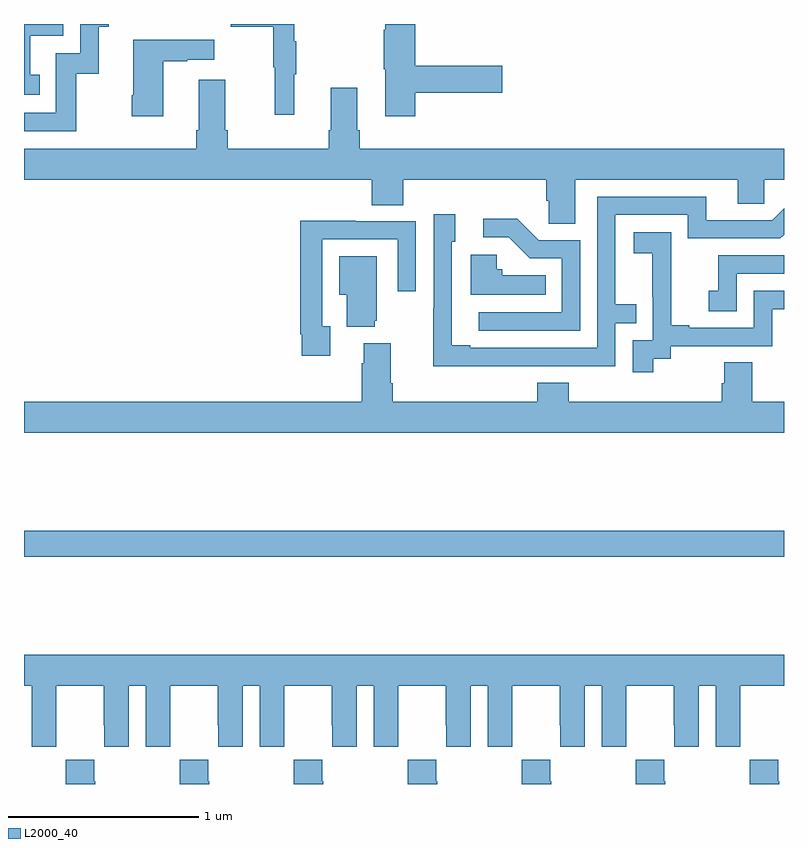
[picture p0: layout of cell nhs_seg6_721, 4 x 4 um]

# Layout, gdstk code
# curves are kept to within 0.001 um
import gdstk
lib = gdstk.Library(unit=1e-6, precision=1e-09)
def R(c, l, rs):  # rectangles x0, y0, x1, y1
    for r in rs: c.add(gdstk.rectangle(r[:2], r[2:], *l))
def P(c, l, *ps):  # polygons
    for p in ps: c.add(gdstk.Polygon(p, *l))
L2000_40 = (2000, 40)

nhs_seg6_721 = lib.new_cell('nhs_seg6_721')
R(nhs_seg6_721, L2000_40, [(157,934.696,161,934.832)])
P(nhs_seg6_721, L2000_40, [(159.059,937.138),(159.517,937.138),(159.517,937.28),(159.059,937.28),(159.059,937.5),(158.9,937.5),(158.9,937.469),(158.893,937.469),(158.893,937.263),(158.9,937.263),(158.9,937.014),(159.059,937.014)],
  [(158.423,937.235),(158.434,937.235),(158.434,937.409),(158.423,937.409),(158.423,937.5),(158.089,937.5),(158.089,937.486),(158.313,937.486),(158.313,937.272),(158.32,937.272),(158.32,937.023),(158.423,937.023)],
  [(157.082,937.233),(157.033,937.233),(157.033,937.437),(157.206,937.437),(157.206,937.5),(157,937.5),(157,937.128),(157.082,937.128)],
  [(157.276,937.239),(157.394,937.239),(157.394,937.485),(157.447,937.485),(157.447,937.5),(157.296,937.5),(157.296,937.347),(157.167,937.347),(157.167,937.032),(157,937.032),(157,936.936),(157.276,936.936)],
  [(157.732,937.303),(157.859,937.303),(157.859,937.313),(158.002,937.313),(158.002,937.417),(157.574,937.417),(157.574,937.126),(157.567,937.126),(157.567,937.014),(157.732,937.014)],
  [(159.901,936.68),(160.757,936.68),(160.757,936.553),(160.896,936.553),(160.896,936.68),(161,936.68),(161,936.844),(158.768,936.844),(158.768,936.94),(158.755,936.94),(158.755,937.165),(158.615,937.165),(158.615,936.94),(158.603,936.94),(158.603,936.844),(158.072,936.844),(158.072,936.94),(158.059,936.94),(158.059,937.207),(157.919,937.207),(157.919,936.94),(157.907,936.94),(157.907,936.844),(157,936.844),(157,936.68),(158.831,936.68),(158.831,936.547),(158.996,936.547),(158.996,936.68),(159.749,936.68),(159.749,936.571),(159.762,936.571),(159.762,936.448),(159.901,936.448)],
  [(159.617,935.7),(160.113,935.7),(160.113,935.925),(160.223,935.925),(160.223,936.026),(160.113,936.026),(160.113,936.495),(160.494,936.495),(160.494,936.372),(160.98,936.372),(161,936.392),(161,936.53),(160.938,936.468),(160.591,936.468),(160.591,936.591),(160.017,936.591),(160.017,935.796),(159.349,935.796),(159.349,935.809),(159.252,935.809),(159.252,936.354),(159.271,936.354),(159.271,936.499),(159.156,936.499),(159.156,936.005),(159.154,936.005),(159.154,935.699)],
  [(159.927,936.363),(159.708,936.363),(159.595,936.476),(159.417,936.476),(159.417,936.378),(159.551,936.378),(159.662,936.267),(159.831,936.267),(159.831,935.982),(159.393,935.982),(159.393,935.886),(159.927,935.886)],
  [(158.611,935.91),(158.571,935.91),(158.571,936.366),(158.967,936.366),(158.967,936.093),(159.063,936.093),(159.063,936.462),(158.747,936.462),(158.747,936.464),(158.455,936.464),(158.455,935.866),(158.463,935.866),(158.463,935.754),(158.611,935.754)],
  [(160.312,935.737),(160.404,935.737),(160.404,935.805),(160.938,935.805),(160.938,936),(161,936),(161,936.096),(160.842,936.096),(160.842,935.901),(160.501,935.901),(160.501,935.914),(160.406,935.914),(160.406,936.197),(160.407,936.197),(160.407,936.403),(160.209,936.403),(160.209,936.293),(160.307,936.293),(160.307,936.065),(160.308,936.065),(160.308,935.835),(160.203,935.835),(160.203,935.667),(160.312,935.667)],
  [(159.746,936.178),(159.516,936.178),(159.516,936.21),(159.489,936.21),(159.489,936.286),(159.35,936.286),(159.35,936.074),(159.746,936.074)],
  [(160.752,936.186),(161,936.186),(161,936.282),(160.654,936.282),(160.654,936.097),(160.605,936.097),(160.605,935.988),(160.752,935.988)],
  [(158.846,935.937),(158.857,935.937),(158.857,936.277),(158.66,936.277),(158.66,936.074),(158.699,936.074),(158.699,935.906),(158.846,935.906)],
  [(161,935.512),(160.833,935.512),(160.833,935.72),(160.685,935.72),(160.685,935.61),(160.673,935.61),(160.673,935.512),(159.866,935.512),(159.866,935.611),(159.701,935.611),(159.701,935.512),(158.942,935.512),(158.942,935.608),(158.929,935.608),(158.929,935.821),(158.789,935.821),(158.789,935.714),(158.777,935.714),(158.777,935.512),(157,935.512),(157,935.348),(161,935.348)],
  [(157.17,933.808),(157.171,933.808),(157.171,934.016),(157.421,934.016),(157.421,933.808),(157.422,933.808),(157.422,933.696),(157.552,933.696),(157.552,934.016),(157.64,934.016),(157.64,933.696),(157.77,933.696),(157.77,933.808),(157.771,933.808),(157.771,934.016),(158.021,934.016),(158.021,933.808),(158.022,933.808),(158.022,933.696),(158.152,933.696),(158.152,934.016),(158.24,934.016),(158.24,933.696),(158.37,933.696),(158.37,933.808),(158.371,933.808),(158.371,934.016),(158.621,934.016),(158.621,933.808),(158.622,933.808),(158.622,933.696),(158.752,933.696),(158.752,934.016),(158.84,934.016),(158.84,933.696),(158.97,933.696),(158.97,933.808),(158.971,933.808),(158.971,934.016),(159.221,934.016),(159.221,933.808),(159.222,933.808),(159.222,933.696),(159.352,933.696),(159.352,934.016),(159.44,934.016),(159.44,933.696),(159.57,933.696),(159.57,933.808),(159.571,933.808),(159.571,934.016),(159.821,934.016),(159.821,933.808),(159.822,933.808),(159.822,933.696),(159.952,933.696),(159.952,934.016),(160.04,934.016),(160.04,933.696),(160.17,933.696),(160.17,933.808),(160.171,933.808),(160.171,934.016),(160.421,934.016),(160.421,933.808),(160.422,933.808),(160.422,933.696),(160.552,933.696),(160.552,934.016),(160.64,934.016),(160.64,933.696),(160.77,933.696),(160.77,933.808),(160.771,933.808),(160.771,934.016),(161,934.016),(161,934.18),(157,934.18),(157,934.016),(157.04,934.016),(157.04,933.696),(157.17,933.696)],
  [(160.974,933.515),(160.971,933.515),(160.971,933.628),(160.821,933.628),(160.821,933.515),(160.819,933.515),(160.819,933.5),(160.974,933.5)],
  [(160.374,933.515),(160.371,933.515),(160.371,933.628),(160.221,933.628),(160.221,933.515),(160.219,933.515),(160.219,933.5),(160.374,933.5)],
  [(159.774,933.515),(159.771,933.515),(159.771,933.628),(159.621,933.628),(159.621,933.515),(159.619,933.515),(159.619,933.5),(159.774,933.5)],
  [(159.174,933.515),(159.171,933.515),(159.171,933.628),(159.021,933.628),(159.021,933.515),(159.019,933.515),(159.019,933.5),(159.174,933.5)],
  [(158.574,933.515),(158.571,933.515),(158.571,933.628),(158.421,933.628),(158.421,933.515),(158.419,933.515),(158.419,933.5),(158.574,933.5)],
  [(157.974,933.515),(157.971,933.515),(157.971,933.628),(157.821,933.628),(157.821,933.515),(157.819,933.515),(157.819,933.5),(157.974,933.5)],
  [(157.374,933.515),(157.371,933.515),(157.371,933.628),(157.221,933.628),(157.221,933.515),(157.219,933.515),(157.219,933.5),(157.374,933.5)])

lib.write_gds('nhs_seg6_721.gds')
